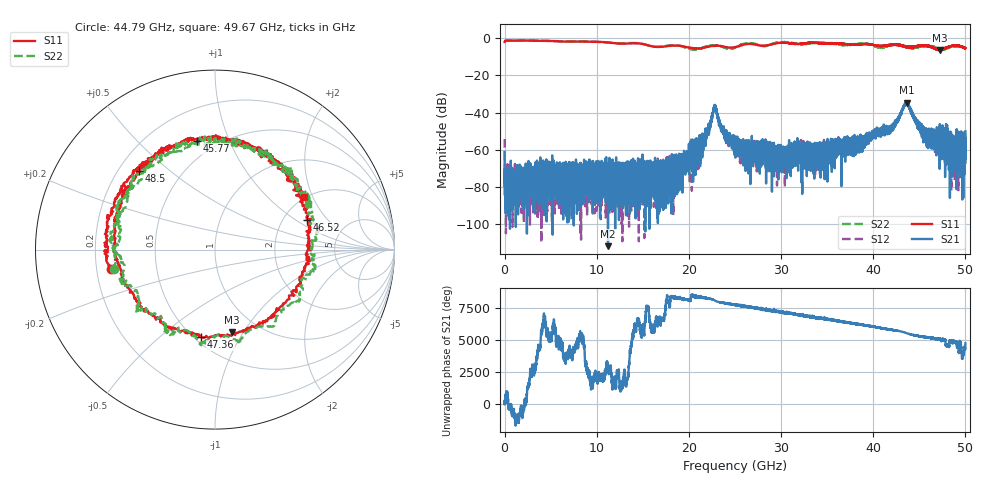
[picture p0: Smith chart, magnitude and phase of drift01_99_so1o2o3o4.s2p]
!Created with skrf (http://scikit-rf.org).
# Hz S RI R 50.0
!freq ReS11 ImS11 ReS21 ImS21 ReS12 ImS12 ReS22 ImS22
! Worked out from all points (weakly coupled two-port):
!   10001 points, 300 kHz to 50 GHz, reference 50 ohm
!   highest |S21| = -34.71 dB at 43.64 GHz (marker M1); lowest = -111.6 dB at 11.22 GHz (marker M2)
!   lowest |S11| = -6.5 dB at 47.22 GHz (marker M3), VSWR 2.78, Z = 37.6 - j44.6 ohm
!   |S11| at or under -10 dB: nowhere
!   |S22| runs from -6.5 to -1.4 dB; largest |S21 - S12| = 0.0045
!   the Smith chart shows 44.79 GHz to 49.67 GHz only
!   S11 on the Smith chart (normalised r, x): 44.79 GHz: 0.26, -0.09; 45.77 GHz: 0.40, +0.77; 46.52 GHz: 2.67, +1.24; 47.36 GHz: 0.54, -0.70; 48.5 GHz: 0.28, +0.40; 49.67 GHz: 1.97, +1.71
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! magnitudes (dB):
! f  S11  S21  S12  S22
! 300 kHz  -2.1  -61.1  -54.2  -2.1
! 265.3 MHz  -1.4  -76.5  -80.1  -1.4
! 8.335 GHz  -1.9  -80.1  -74.8  -1.8
! 11.22 GHz  -2.4  -111.6  -75.3  -2.5
! 16.67 GHz  -4.8  -72.0  -81.9  -4.8
! 20.97 GHz  -5.6  -67.5  -59.1  -6.1
! 22.79 GHz  -4.3  -36.0  -36.1  -4.0
! 23.7 GHz  -4.6  -51.0  -50.5  -4.9
! 25 GHz  -5.0  -53.9  -56.0  -5.1
! 29.38 GHz  -2.9  -64.1  -64.5  -2.8
! 33.34 GHz  -2.6  -57.7  -61.6  -2.7
! 38.42 GHz  -3.4  -54.8  -54.8  -3.1
! 41.67 GHz  -3.9  -48.5  -49.2  -4.3
! 43.64 GHz  -4.8  -34.7  -35.0  -5.0
! 44.79 GHz  -4.6  -44.9  -47.0  -4.9
! 45.77 GHz  -4.2  -51.3  -50.5  -4.4
! 46.52 GHz  -5.4  -53.9  -55.1  -5.1
! 47.22 GHz  -6.5  -55.2  -56.4  -5.7
! 47.36 GHz  -6.1  -53.8  -50.7  -6.1
! 48.5 GHz  -4.3  -53.7  -61.2  -4.9
! 49.67 GHz  -4.8  -59.2  -61.7  -4.8
! 50 GHz  -5.5  -50.0  -51.1  -5.3
